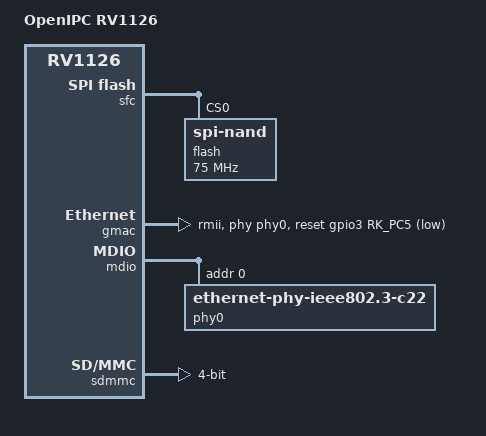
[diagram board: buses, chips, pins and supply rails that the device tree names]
// SPDX-License-Identifier: (GPL-2.0+ OR MIT)
/*
 * OpenIPC RV1126 / RV1109 camera, SPI NAND on the SFC.
 */
/dts-v1/;
#include "rv1126-openipc.dtsi"

/ {
	model = "OpenIPC RV1126";
	compatible = "openipc,rv1126", "rockchip,rv1126";

	aliases {
		serial2 = &uart2;
		spi0 = &sfc;
		ethernet0 = &gmac;
		gpio3 = &gpio3;
		mmc0 = &sdmmc;
	};
};

&sfc {
	flash@0 {
		compatible = "spi-nand";
		reg = <0>;
		spi-max-frequency = <75000000>;
		spi-rx-bus-width = <4>;
		spi-tx-bus-width = <1>;
		u-boot,dm-pre-reloc;
	};
};

/*
 * Ethernet as the RV1109 SPI NAND cameras have it (their kernel device
 * tree): RMII to a PHY at MDIO address 0, the SoC driving its 50 MHz
 * reference from the M0 pins, the PHY reset on GPIO3_C5, active low
 */
&gmac {
	phy-mode = "rmii";
	clock_in_out = "output";
	assigned-clocks = <&cru CLK_GMAC_SRC>, <&cru CLK_GMAC_TX_RX>;
	assigned-clock-parents = <&cru CLK_GMAC_SRC_M0>, <&cru RMII_MODE_CLK>;
	assigned-clock-rates = <50000000>;
	pinctrl-names = "default";
	pinctrl-0 = <&rmiim0_pins &gmac_clk_m0_drv_level0_pins>;
	snps,reset-gpio = <&gpio3 RK_PC5 GPIO_ACTIVE_LOW>;
	snps,reset-active-low;
	snps,reset-delays-us = <0 50000 50000>;
	phy-handle = <&phy0>;
	status = "okay";
};

&mdio {
	phy0: ethernet-phy@0 {
		compatible = "ethernet-phy-ieee802.3-c22";
		reg = <0>;
	};
};

&sdmmc {
	bus-width = <4>;
	cap-sd-highspeed;
	status = "okay";
};
